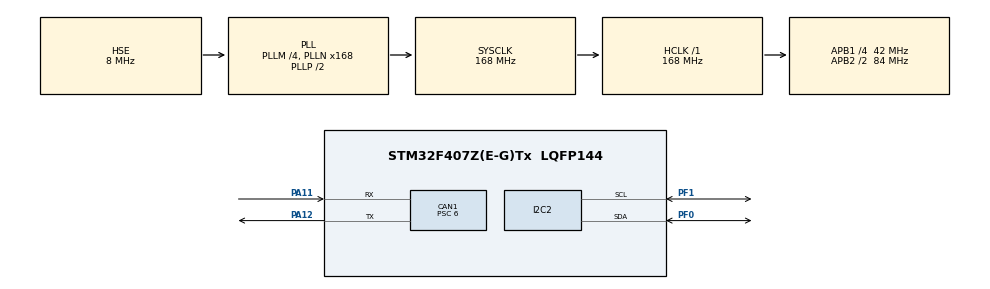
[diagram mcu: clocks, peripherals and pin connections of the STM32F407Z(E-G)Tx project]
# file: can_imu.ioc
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CAN1.BS1=CAN_BS1_11TQ
CAN1.BS2=CAN_BS2_2TQ
CAN1.CalculateBaudRate=500000
CAN1.CalculateTimeBit=2000
CAN1.CalculateTimeQuantum=142.85714285714286
CAN1.Prescaler=6
Mcu.Family=STM32F4
Mcu.Name=STM32F407Z(E-G)Tx
Mcu.Package=LQFP144
NVIC.CAN1_RX0_IRQn=true\:0\:0\:false\:false\:true\:true\:true\:true
NVIC.PriorityGroup=NVIC_PRIORITYGROUP_4
PA11.Mode=CAN_Activate
PA11.Signal=CAN1_RX
PA12.Mode=CAN_Activate
PA12.Signal=CAN1_TX
PA13.Mode=Serial_Wire
PA13.Signal=SYS_JTMS-SWDIO
PA14.Mode=Serial_Wire
PA14.Signal=SYS_JTCK-SWCLK
PF0.Mode=I2C
PF0.Signal=I2C2_SDA
PF1.Mode=I2C
PF1.Signal=I2C2_SCL
PH0-OSC_IN.Mode=HSE-External-Oscillator
PH0-OSC_IN.Signal=RCC_OSC_IN
PH1-OSC_OUT.Mode=HSE-External-Oscillator
PH1-OSC_OUT.Signal=RCC_OSC_OUT
ProjectManager.HeapSize=0x200
ProjectManager.StackSize=0x400
ProjectManager.TargetToolchain=STM32CubeIDE
RCC.48MHZClocksFreq_Value=84000000
RCC.AHBFreq_Value=168000000
RCC.APB1CLKDivider=RCC_HCLK_DIV4
RCC.APB1Freq_Value=42000000
RCC.APB1TimFreq_Value=84000000
RCC.APB2CLKDivider=RCC_HCLK_DIV2
RCC.APB2Freq_Value=84000000
RCC.APB2TimFreq_Value=168000000
RCC.CortexFreq_Value=168000000
RCC.HCLKFreq_Value=168000000
RCC.HSE_VALUE=8000000
RCC.HSI_VALUE=16000000
RCC.LSE_VALUE=32768
RCC.PLLM=4
RCC.PLLN=168
RCC.PLLSourceVirtual=RCC_PLLSOURCE_HSE
RCC.SYSCLKFreq_VALUE=168000000
RCC.SYSCLKSource=RCC_SYSCLKSOURCE_PLLCLK
RCC.VCOOutputFreq_Value=336000000
board=custom

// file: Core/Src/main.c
/* USER CODE BEGIN Header */
/**
  ******************************************************************************
  * @file           : main.c
  * @brief          : Main program body
  ******************************************************************************
  * @attention
  *
  * Copyright (c) 2026 STMicroelectronics.
  * All rights reserved.
  *
  * This software is licensed under terms that can be found in the LICENSE file
  * in the root directory of this software component.
  * If no LICENSE file comes with this software, it is provided AS-IS.
  *
  ******************************************************************************
  */
/* USER CODE END Header */
#include "main.h"

/* USER CODE BEGIN Includes */
#include "imu_parser.h"
#include "imu_oled_format.h"
#include "oled_ssd1306.h"
#include <string.h>
/* USER CODE END Includes */

/* USER CODE BEGIN PD */
#define IMU_CAN_ID 0x121U
#define CAN_RX_QUEUE_LEN 128U
#define IMU_FRAME_GAP_MS 2000U
#define IMU_STALE_MS 500U
#define OLED_REFRESH_MS 200U
#define OLED_ROW_INTERVAL_MS 25U
/* USER CODE END PD */

CAN_HandleTypeDef hcan1;

I2C_HandleTypeDef hi2c2;

/* USER CODE BEGIN PV */
typedef struct
{
  uint8_t length;
  uint8_t data[8];
  uint32_t tick_ms;
} CanRxChunk;

static CanRxChunk can_rx_queue[CAN_RX_QUEUE_LEN];
static volatile uint16_t can_rx_head;
static volatile uint16_t can_rx_tail;
static volatile uint8_t can_rx_overflow;
static ImuParser imu_parser;
static ImuSample imu_latest;
static uint8_t imu_valid;
static uint8_t oled_ready;
static uint32_t imu_last_valid_ms;
static uint32_t last_can_frame_ms;
static uint32_t last_oled_refresh_ms;
static uint32_t last_oled_row_ms;
static uint32_t last_oled_retry_ms;
static uint8_t next_oled_row;
/* USER CODE END PV */

void SystemClock_Config(void);
static void MX_GPIO_Init(void);
static void MX_CAN1_Init(void);
static void MX_I2C2_Init(void);
/* USER CODE BEGIN PFP */
static void CAN_IMU_Start(void);
static void CAN_IMU_Process(void);
static void OLED_IMU_Draw(uint32_t now_ms);
/* USER CODE END PFP */

/* USER CODE BEGIN 0 */
static void CAN_IMU_Start(void)
{
  CAN_FilterTypeDef filter = {0};
  filter.FilterBank = 0;
  filter.FilterMode = CAN_FILTERMODE_IDMASK;
  filter.FilterScale = CAN_FILTERSCALE_32BIT;
  filter.FilterIdHigh = (uint16_t)(IMU_CAN_ID << 5);
  filter.FilterIdLow = 0;
  filter.FilterMaskIdHigh = (uint16_t)(0x7FFU << 5);
  filter.FilterMaskIdLow = 0x0006U; /* Standard ID and data frame. */
  filter.FilterFIFOAssignment = CAN_RX_FIFO0;
  filter.FilterActivation = ENABLE;
  filter.SlaveStartFilterBank = 14;

  if (HAL_CAN_ConfigFilter(&hcan1, &filter) != HAL_OK ||
      HAL_CAN_Start(&hcan1) != HAL_OK ||
      HAL_CAN_ActivateNotification(&hcan1, CAN_IT_RX_FIFO0_MSG_PENDING) != HAL_OK)
  {
    Error_Handler();
  }
}

void HAL_CAN_RxFifo0MsgPendingCallback(CAN_HandleTypeDef *hcan)
{
  CAN_RxHeaderTypeDef header;
  uint8_t data[8];

  if (hcan->Instance != CAN1)
  {
    return;
  }

  while (HAL_CAN_GetRxFifoFillLevel(hcan, CAN_RX_FIFO0) > 0U)
  {
    uint16_t next;
    if (HAL_CAN_GetRxMessage(hcan, CAN_RX_FIFO0, &header, data) != HAL_OK)
    {
      can_rx_overflow = 1U;
      break;
    }
    if (header.IDE != CAN_ID_STD || header.RTR != CAN_RTR_DATA ||
        header.StdId != IMU_CAN_ID || header.DLC == 0U || header.DLC > 8U)
    {
      continue;
    }

    next = (uint16_t)((can_rx_head + 1U) % CAN_RX_QUEUE_LEN);
    if (next == can_rx_tail)
    {
      can_rx_overflow = 1U;
      continue;
    }

    can_rx_queue[can_rx_head].length = (uint8_t)header.DLC;
    memcpy(can_rx_queue[can_rx_head].data, data, header.DLC);
    can_rx_queue[can_rx_head].tick_ms = HAL_GetTick();
    __DMB();
    can_rx_head = next;
  }
}

static void CAN_IMU_Process(void)
{
  if (can_rx_overflow != 0U)
  {
    HAL_NVIC_DisableIRQ(CAN1_RX0_IRQn);
    can_rx_head = 0U;
    can_rx_tail = 0U;
    can_rx_overflow = 0U;
    HAL_NVIC_EnableIRQ(CAN1_RX0_IRQn);
    imu_parser_init(&imu_parser);
    imu_valid = 0U;
    last_can_frame_ms = 0U;
  }

  while (can_rx_tail != can_rx_head)
  {
    const CanRxChunk *chunk = &can_rx_queue[can_rx_tail];
    if (last_can_frame_ms != 0U &&
        (uint32_t)(chunk->tick_ms - last_can_frame_ms) > IMU_FRAME_GAP_MS)
    {
      imu_parser_init(&imu_parser);
    }
    last_can_frame_ms = chunk->tick_ms;

    /* Assumes ID 0x121 DATA is an ordered, unmodified IMU byte stream. */
    if (imu_parser_feed(&imu_parser, chunk->data, chunk->length, &imu_latest))
    {
      imu_valid = 1U;
      imu_last_valid_ms = chunk->tick_ms;
    }
    __DMB();
    can_rx_tail = (uint16_t)((can_rx_tail + 1U) % CAN_RX_QUEUE_LEN);
  }
}

static void OLED_IMU_Row(uint8_t row, const char *label, float value)
{
  char line[22];
  imu_oled_format_row(line, sizeof(line), label, value);
  OledSsd1306_WriteText(row, 0U, line);
}

static void OLED_IMU_Draw(uint32_t now_ms)
{
  OledSsd1306_Clear();
  if (imu_valid == 0U ||
      (uint32_t)(now_ms - imu_last_valid_ms) > IMU_STALE_MS)
  {
    OledSsd1306_WriteText(0U, 0U, "CAN IMU 0x121");
    OledSsd1306_WriteText(2U, 0U, "WAIT IMU DATA");
  }
  else
  {
    OledSsd1306_WriteText(0U, 0U, "ANGLE deg");
    OLED_IMU_Row(1U, "Roll", imu_latest.roll_deg);
    OLED_IMU_Row(2U, "Pitch", imu_latest.pitch_deg);
    OLED_IMU_Row(3U, "Yaw", imu_latest.yaw_deg);
    OledSsd1306_WriteText(4U, 0U, "RATE deg/s");
    OLED_IMU_Row(5U, "Gx", imu_latest.gx_deg_s);
    OLED_IMU_Row(6U, "Gy", imu_latest.gy_deg_s);
    OLED_IMU_Row(7U, "Gz", imu_latest.gz_deg_s);
  }
}
/* USER CODE END 0 */

int main(void)
{

  /* MCU Configuration--------------------------------------------------------*/

  /* Reset of all peripherals, Initializes the Flash interface and the Systick. */
  HAL_Init();

  /* Configure the system clock */
  SystemClock_Config();

  /* Initialize all configured peripherals */
  MX_GPIO_Init();
  MX_CAN1_Init();
  MX_I2C2_Init();
  /* USER CODE BEGIN 2 */
  imu_parser_init(&imu_parser);
  oled_ready = (OledSsd1306_Init(&hi2c2) == HAL_OK) ? 1U : 0U;
  last_oled_retry_ms = HAL_GetTick();
  CAN_IMU_Start();
  /* USER CODE END 2 */

  /* Infinite loop */
  while (1)
  {

    /* USER CODE BEGIN 3 */
    uint32_t now_ms;
    CAN_IMU_Process();
    now_ms = HAL_GetTick();
    if (oled_ready == 0U &&
        (uint32_t)(now_ms - last_oled_retry_ms) >= 1000U)
    {
      oled_ready = (OledSsd1306_Init(&hi2c2) == HAL_OK) ? 1U : 0U;
      last_oled_retry_ms = now_ms;
    }
    if (oled_ready != 0U &&
        (uint32_t)(now_ms - last_oled_refresh_ms) >= OLED_REFRESH_MS)
    {
      OLED_IMU_Draw(now_ms);
      last_oled_refresh_ms = now_ms;
    }
    if (oled_ready != 0U &&
        (uint32_t)(now_ms - last_oled_row_ms) >= OLED_ROW_INTERVAL_MS)
    {
      if (OledSsd1306_UpdateRow(next_oled_row) != HAL_OK)
      {
        oled_ready = 0U;
        last_oled_retry_ms = now_ms;
      }
      next_oled_row = (uint8_t)((next_oled_row + 1U) % OLED_SSD1306_ROWS);
      last_oled_row_ms = now_ms;
    }
  }
  /* USER CODE END 3 */
}

void SystemClock_Config(void)
{
  RCC_OscInitTypeDef RCC_OscInitStruct = {0};
  RCC_ClkInitTypeDef RCC_ClkInitStruct = {0};

  /** Configure the main internal regulator output voltage
  */
  __HAL_RCC_PWR_CLK_ENABLE();
  __HAL_PWR_VOLTAGESCALING_CONFIG(PWR_REGULATOR_VOLTAGE_SCALE1);

  /** Initializes the RCC Oscillators according to the specified parameters
  * in the RCC_OscInitTypeDef structure.
  */
  RCC_OscInitStruct.OscillatorType = RCC_OSCILLATORTYPE_HSE;
  RCC_OscInitStruct.HSEState = RCC_HSE_ON;
  RCC_OscInitStruct.PLL.PLLState = RCC_PLL_ON;
  RCC_OscInitStruct.PLL.PLLSource = RCC_PLLSOURCE_HSE;
  RCC_OscInitStruct.PLL.PLLM = 4;
  RCC_OscInitStruct.PLL.PLLN = 168;
  RCC_OscInitStruct.PLL.PLLP = RCC_PLLP_DIV2;
  RCC_OscInitStruct.PLL.PLLQ = 4;
  if (HAL_RCC_OscConfig(&RCC_OscInitStruct) != HAL_OK)
  {
    Error_Handler();
  }

  /** Initializes the CPU, AHB and APB buses clocks
  */
  RCC_ClkInitStruct.ClockType = RCC_CLOCKTYPE_HCLK|RCC_CLOCKTYPE_SYSCLK
                              |RCC_CLOCKTYPE_PCLK1|RCC_CLOCKTYPE_PCLK2;
  RCC_ClkInitStruct.SYSCLKSource = RCC_SYSCLKSOURCE_PLLCLK;
  RCC_ClkInitStruct.AHBCLKDivider = RCC_SYSCLK_DIV1;
  RCC_ClkInitStruct.APB1CLKDivider = RCC_HCLK_DIV4;
  RCC_ClkInitStruct.APB2CLKDivider = RCC_HCLK_DIV2;

  if (HAL_RCC_ClockConfig(&RCC_ClkInitStruct, FLASH_LATENCY_5) != HAL_OK)
  {
    Error_Handler();
  }
}

static void MX_CAN1_Init(void)
{

  hcan1.Instance = CAN1;
  hcan1.Init.Prescaler = 6;
  hcan1.Init.Mode = CAN_MODE_NORMAL;
  hcan1.Init.SyncJumpWidth = CAN_SJW_1TQ;
  hcan1.Init.TimeSeg1 = CAN_BS1_11TQ;
  hcan1.Init.TimeSeg2 = CAN_BS2_2TQ;
  hcan1.Init.TimeTriggeredMode = DISABLE;
  hcan1.Init.AutoBusOff = DISABLE;
  hcan1.Init.AutoWakeUp = DISABLE;
  hcan1.Init.AutoRetransmission = DISABLE;
  hcan1.Init.ReceiveFifoLocked = DISABLE;
  hcan1.Init.TransmitFifoPriority = DISABLE;
  if (HAL_CAN_Init(&hcan1) != HAL_OK)
  {
    Error_Handler();
  }

}

static void MX_I2C2_Init(void)
{

  hi2c2.Instance = I2C2;
  hi2c2.Init.ClockSpeed = 100000;
  hi2c2.Init.DutyCycle = I2C_DUTYCYCLE_2;
  hi2c2.Init.OwnAddress1 = 0;
  hi2c2.Init.AddressingMode = I2C_ADDRESSINGMODE_7BIT;
  hi2c2.Init.DualAddressMode = I2C_DUALADDRESS_DISABLE;
  hi2c2.Init.OwnAddress2 = 0;
  hi2c2.Init.GeneralCallMode = I2C_GENERALCALL_DISABLE;
  hi2c2.Init.NoStretchMode = I2C_NOSTRETCH_DISABLE;
  if (HAL_I2C_Init(&hi2c2) != HAL_OK)
  {
    Error_Handler();
  }

}

static void MX_GPIO_Init(void)
{

  /* GPIO Ports Clock Enable */
  __HAL_RCC_GPIOF_CLK_ENABLE();
  __HAL_RCC_GPIOH_CLK_ENABLE();
  __HAL_RCC_GPIOA_CLK_ENABLE();

}

void Error_Handler(void)
{
  __disable_irq();
  while (1)
  {
  }
}
